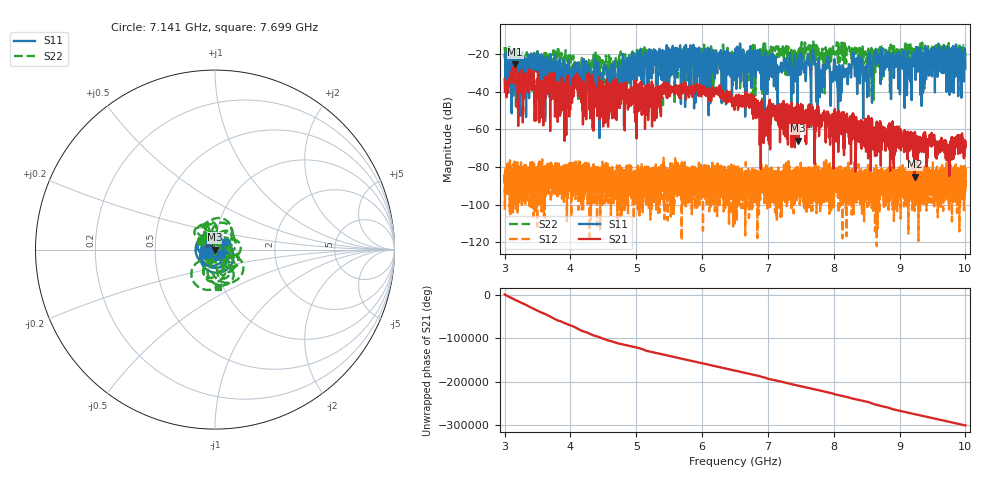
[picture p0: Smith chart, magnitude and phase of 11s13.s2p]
!Agilent Technologies,E8363B,MY43030572,A.06.04.32
!Agilent E8363B: A.06.04.32
!Date: Tuesday, June 07, 2011 09:41:52
!Correction: S11(Full 2 Port(1,2)) S21(Full 2 Port(1,2)) S12(Full 2 Port(1,2)) S22(Full 2 Port(1,2))
!S2P File: Measurements: S11, S21, S12, S22:
# Hz S  dB  R 50
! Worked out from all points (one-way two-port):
!   6401 points, 3 GHz to 10 GHz, reference 50 ohm
!   highest |S21| = -25.39 dB at 3.161 GHz (marker M1); lowest = -85.1 dB at 9.23 GHz (marker M2)
!   lowest |S11| = -66.0 dB at 7.45 GHz (marker M3), VSWR 1.00, Z = 50 + j0.0418 ohm
!   |S11| at or under -10 dB: start of sweep to end of sweep
!   |S22| runs from -50.3 to -12.7 dB; largest |S21 - S12| = 0.054
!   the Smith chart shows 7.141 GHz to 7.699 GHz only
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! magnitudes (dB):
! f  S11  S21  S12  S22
! 3 GHz  -21.7  -33.3  -88.4  -16.2
! 3.161 GHz  -22.0  -25.4  -79.1  -20.1
! 3.561 GHz  -20.1  -37.1  -80.6  -22.4
! 4.167 GHz  -28.5  -34.1  -84.4  -23.9
! 4.327 GHz  -32.7  -31.0  -85.1  -23.1
! 4.397 GHz  -34.1  -40.3  -83.2  -24.9
! 4.466 GHz  -30.5  -38.5  -81.4  -27.7
! 4.528 GHz  -26.9  -56.4  -91.8  -25.6
! 4.586 GHz  -31.2  -41.2  -82.7  -20.8
! 5.334 GHz  -19.7  -39.4  -90.0  -25.3
! 6.5 GHz  -22.9  -44.9  -89.9  -24.1
! 7.45 GHz  -66.0  -48.4  -84.0  -21.1
! 7.667 GHz  -21.9  -49.1  -82.4  -16.7
! 7.819 GHz  -40.4  -58.1  -90.8  -21.0
! 7.905 GHz  -21.4  -53.8  -85.3  -24.9
! 8.086 GHz  -25.8  -61.4  -89.2  -19.7
! 8.31 GHz  -22.9  -58.1  -90.2  -18.8
! 8.476 GHz  -30.9  -54.8  -86.1  -20.2
! 8.64 GHz  -20.0  -69.8  -82.2  -17.1
! 8.834 GHz  -19.6  -59.0  -96.4  -20.7
! 9.23 GHz  -23.9  -85.1  -89.6  -18.7
! 10 GHz  -27.8  -69.2  -85.3  -21.0
